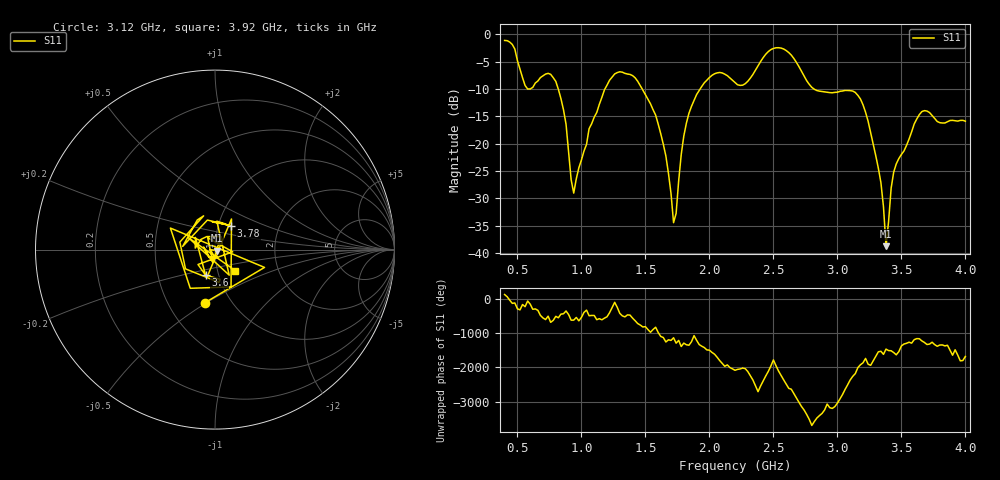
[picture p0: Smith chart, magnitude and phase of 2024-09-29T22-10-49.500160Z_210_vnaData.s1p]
!Created with skrf (http://scikit-rf.org).
# Hz S RI R 50.0
!freq ReS11 ImS11
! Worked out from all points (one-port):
!   181 points, 400 MHz to 4 GHz, reference 50 ohm
!   lowest |S11| = -38.7 dB at 3.38 GHz (marker M1), VSWR 1.02, Z = 51 - j0.524 ohm
!   |S11| at or under -10 dB: 818.9 MHz to 1.184 GHz (365.1 MHz wide, 36.5 % of centre); 1.475 GHz to 1.928 GHz (453.3 MHz wide, 26.6 % of centre); 2.816 GHz to end of sweep (the widest 3 of 4)
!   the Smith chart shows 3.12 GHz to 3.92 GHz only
!   S11 on the Smith chart (normalised r, x): 3.12 GHz: 0.75, -0.49; 3.6 GHz: 0.87, -0.25; 3.78 GHz: 1.15, +0.31; 3.92 GHz: 1.21, -0.29
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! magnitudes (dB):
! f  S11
! 400 MHz  -1.2
! 580 MHz  -10.0
! 760 MHz  -7.3
! 860 MHz  -13.8
! 940 MHz  -29.0
! 1.06 GHz  -17.3
! 1.3 GHz  -6.9
! 1.58 GHz  -14.8
! 1.66 GHz  -22.3
! 1.72 GHz  -34.4
! 1.76 GHz  -26.8
! 1.82 GHz  -16.3
! 1.9 GHz  -11.0
! 2.2 GHz  -8.8
! 2.5 GHz  -2.6
! 2.66 GHz  -4.5
! 2.82 GHz  -10.1
! 3.1 GHz  -10.3
! 3.12 GHz  -10.4
! 3.3 GHz  -22.2
! 3.34 GHz  -27.1
! 3.38 GHz  -38.7
! 3.44 GHz  -25.2
! 3.56 GHz  -19.2
! 3.6 GHz  -16.4
! 3.78 GHz  -16.0
! 3.92 GHz  -15.8
! 4 GHz  -15.9
